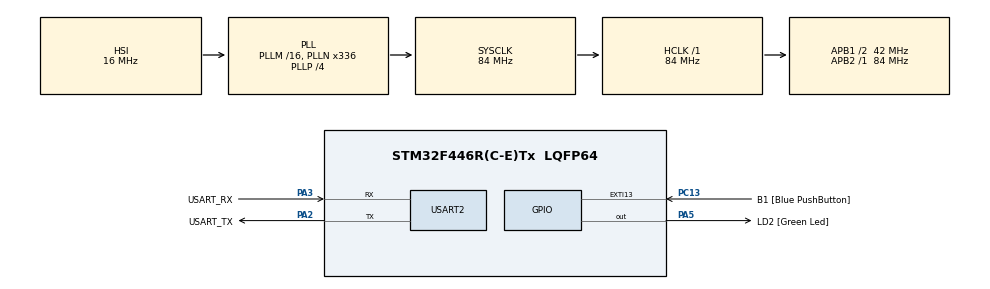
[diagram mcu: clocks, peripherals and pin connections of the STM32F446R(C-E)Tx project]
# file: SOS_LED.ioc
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Mcu.Family=STM32F4
Mcu.Name=STM32F446R(C-E)Tx
Mcu.Package=LQFP64
NVIC.PriorityGroup=NVIC_PRIORITYGROUP_0
PA13.GPIO_Label=TMS
PA13.Mode=Serial_Wire
PA13.Signal=SYS_JTMS-SWDIO
PA14.GPIO_Label=TCK
PA14.Mode=Serial_Wire
PA14.Signal=SYS_JTCK-SWCLK
PA2.GPIO_Label=USART_TX
PA2.Mode=Asynchronous
PA2.Signal=USART2_TX
PA3.GPIO_Label=USART_RX
PA3.Mode=Asynchronous
PA3.Signal=USART2_RX
PA5.GPIO_Label=LD2 [Green Led]
PA5.Signal=GPIO_Output
PB3.GPIO_Label=SWO
PB3.Signal=SYS_JTDO-SWO
PC13.GPIO_Label=B1 [Blue PushButton]
PC13.GPIO_ModeDefaultEXTI=GPIO_MODE_IT_FALLING
PC13.Signal=GPXTI13
PC14-OSC32_IN.Mode=LSE-External-Oscillator
PC14-OSC32_IN.Signal=RCC_OSC32_IN
PC15-OSC32_OUT.Mode=LSE-External-Oscillator
PC15-OSC32_OUT.Signal=RCC_OSC32_OUT
PH0-OSC_IN.Mode=HSE-External-Oscillator
PH0-OSC_IN.Signal=RCC_OSC_IN
PH1-OSC_OUT.Mode=HSE-External-Oscillator
PH1-OSC_OUT.Signal=RCC_OSC_OUT
ProjectManager.HeapSize=0x200
ProjectManager.StackSize=0x400
ProjectManager.TargetToolchain=Makefile
RCC.48MHZClocksFreq_Value=84000000
RCC.AHBFreq_Value=84000000
RCC.APB1CLKDivider=RCC_HCLK_DIV2
RCC.APB1Freq_Value=42000000
RCC.APB1TimFreq_Value=84000000
RCC.APB2Freq_Value=84000000
RCC.APB2TimFreq_Value=84000000
RCC.CortexFreq_Value=84000000
RCC.FLatency-AdvancedSettings=FLASH_LATENCY_2
RCC.HCLKFreq_Value=84000000
RCC.HSE_VALUE=8000000
RCC.HSI_VALUE=16000000
RCC.PLLN=336
RCC.PLLP=RCC_PLLP_DIV4
RCC.SYSCLKFreq_VALUE=84000000
RCC.SYSCLKSource=RCC_SYSCLKSOURCE_PLLCLK
RCC.USBFreq_Value=168000000
RCC.VCOOutputFreq_Value=336000000
USART2.VirtualMode=VM_ASYNC
board=NUCLEO-F446RE

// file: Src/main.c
/* USER CODE BEGIN Header */
/**
  ******************************************************************************
  * @file           : main.c
  * @brief          : Main program body
  ******************************************************************************
  * @attention
  *
  * Copyright (c) 2026 STMicroelectronics.
  * All rights reserved.
  *
  * This software is licensed under terms that can be found in the LICENSE file
  * in the root directory of this software component.
  * If no LICENSE file comes with this software, it is provided AS-IS.
  *
  ******************************************************************************
  */
/* USER CODE END Header */
#include "main.h"

UART_HandleTypeDef huart2;

void SystemClock_Config(void);
static void MX_GPIO_Init(void);
static void MX_USART2_UART_Init(void);

/* USER CODE BEGIN 0 */
#define DOT_MS   200
#define DASH_MS  (3 * DOT_MS)
#define GAP_MS   DOT_MS
#define LETTER_GAP_MS (3 * DOT_MS)
#define WORD_GAP_MS   (7 * DOT_MS)

static void led_on_for(uint32_t ms)
{
  HAL_GPIO_WritePin(LD2_GPIO_Port, LD2_Pin, GPIO_PIN_SET);
  HAL_Delay(ms);
  HAL_GPIO_WritePin(LD2_GPIO_Port, LD2_Pin, GPIO_PIN_RESET);
  HAL_Delay(GAP_MS);
}

static void sos_blink(void)
{
  /* S */
  for (int i = 0; i < 3; i++) led_on_for(DOT_MS);
  HAL_Delay(LETTER_GAP_MS - GAP_MS);
  /* O */
  for (int i = 0; i < 3; i++) led_on_for(DASH_MS);
  HAL_Delay(LETTER_GAP_MS - GAP_MS);
  /* S */
  for (int i = 0; i < 3; i++) led_on_for(DOT_MS);
  HAL_Delay(WORD_GAP_MS - GAP_MS);
}
/* USER CODE END 0 */

int main(void)
{

  /* MCU Configuration--------------------------------------------------------*/

  /* Reset of all peripherals, Initializes the Flash interface and the Systick. */
  HAL_Init();

  /* Configure the system clock */
  SystemClock_Config();

  /* Initialize all configured peripherals */
  MX_GPIO_Init();
  MX_USART2_UART_Init();

  /* Infinite loop */
  /* USER CODE BEGIN WHILE */
  while (1)
  {
    sos_blink();
    /* USER CODE END WHILE */

  }
}

void SystemClock_Config(void)
{
  RCC_OscInitTypeDef RCC_OscInitStruct = {0};
  RCC_ClkInitTypeDef RCC_ClkInitStruct = {0};

  /** Configure the main internal regulator output voltage
  */
  __HAL_RCC_PWR_CLK_ENABLE();
  __HAL_PWR_VOLTAGESCALING_CONFIG(PWR_REGULATOR_VOLTAGE_SCALE3);

  /** Initializes the RCC Oscillators according to the specified parameters
  * in the RCC_OscInitTypeDef structure.
  */
  RCC_OscInitStruct.OscillatorType = RCC_OSCILLATORTYPE_HSI;
  RCC_OscInitStruct.HSIState = RCC_HSI_ON;
  RCC_OscInitStruct.HSICalibrationValue = RCC_HSICALIBRATION_DEFAULT;
  RCC_OscInitStruct.PLL.PLLState = RCC_PLL_ON;
  RCC_OscInitStruct.PLL.PLLSource = RCC_PLLSOURCE_HSI;
  RCC_OscInitStruct.PLL.PLLM = 16;
  RCC_OscInitStruct.PLL.PLLN = 336;
  RCC_OscInitStruct.PLL.PLLP = RCC_PLLP_DIV4;
  RCC_OscInitStruct.PLL.PLLQ = 2;
  RCC_OscInitStruct.PLL.PLLR = 2;
  if (HAL_RCC_OscConfig(&RCC_OscInitStruct) != HAL_OK)
  {
    Error_Handler();
  }

  /** Initializes the CPU, AHB and APB buses clocks
  */
  RCC_ClkInitStruct.ClockType = RCC_CLOCKTYPE_HCLK|RCC_CLOCKTYPE_SYSCLK
                              |RCC_CLOCKTYPE_PCLK1|RCC_CLOCKTYPE_PCLK2;
  RCC_ClkInitStruct.SYSCLKSource = RCC_SYSCLKSOURCE_PLLCLK;
  RCC_ClkInitStruct.AHBCLKDivider = RCC_SYSCLK_DIV1;
  RCC_ClkInitStruct.APB1CLKDivider = RCC_HCLK_DIV2;
  RCC_ClkInitStruct.APB2CLKDivider = RCC_HCLK_DIV1;

  if (HAL_RCC_ClockConfig(&RCC_ClkInitStruct, FLASH_LATENCY_2) != HAL_OK)
  {
    Error_Handler();
  }
}

static void MX_USART2_UART_Init(void)
{

  huart2.Instance = USART2;
  huart2.Init.BaudRate = 115200;
  huart2.Init.WordLength = UART_WORDLENGTH_8B;
  huart2.Init.StopBits = UART_STOPBITS_1;
  huart2.Init.Parity = UART_PARITY_NONE;
  huart2.Init.Mode = UART_MODE_TX_RX;
  huart2.Init.HwFlowCtl = UART_HWCONTROL_NONE;
  huart2.Init.OverSampling = UART_OVERSAMPLING_16;
  if (HAL_UART_Init(&huart2) != HAL_OK)
  {
    Error_Handler();
  }

}

static void MX_GPIO_Init(void)
{
  GPIO_InitTypeDef GPIO_InitStruct = {0};

  /* GPIO Ports Clock Enable */
  __HAL_RCC_GPIOC_CLK_ENABLE();
  __HAL_RCC_GPIOH_CLK_ENABLE();
  __HAL_RCC_GPIOA_CLK_ENABLE();
  __HAL_RCC_GPIOB_CLK_ENABLE();

  /*Configure GPIO pin Output Level */
  HAL_GPIO_WritePin(LD2_GPIO_Port, LD2_Pin, GPIO_PIN_RESET);

  /*Configure GPIO pin : B1_Pin */
  GPIO_InitStruct.Pin = B1_Pin;
  GPIO_InitStruct.Mode = GPIO_MODE_IT_FALLING;
  GPIO_InitStruct.Pull = GPIO_NOPULL;
  HAL_GPIO_Init(B1_GPIO_Port, &GPIO_InitStruct);

  /*Configure GPIO pin : LD2_Pin */
  GPIO_InitStruct.Pin = LD2_Pin;
  GPIO_InitStruct.Mode = GPIO_MODE_OUTPUT_PP;
  GPIO_InitStruct.Pull = GPIO_NOPULL;
  GPIO_InitStruct.Speed = GPIO_SPEED_FREQ_LOW;
  HAL_GPIO_Init(LD2_GPIO_Port, &GPIO_InitStruct);

}

void Error_Handler(void)
{
  __disable_irq();
  while (1)
  {
  }
}
